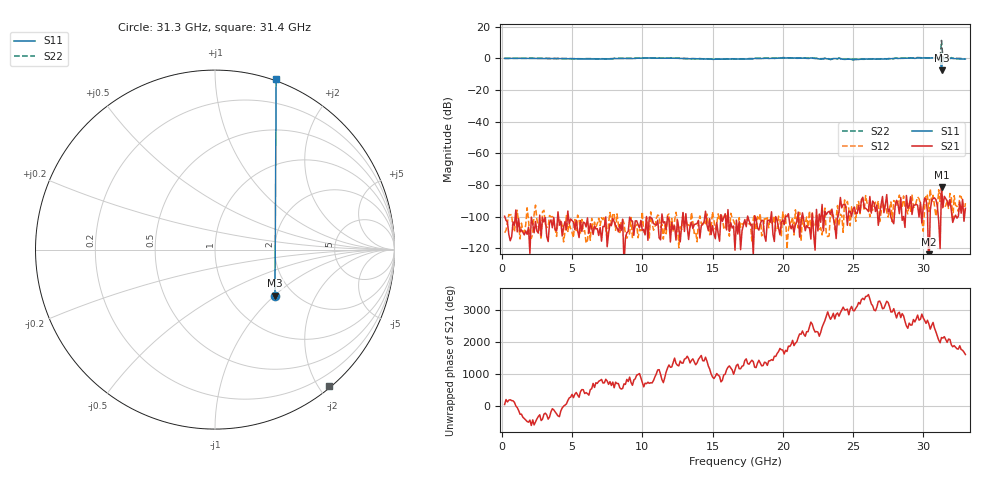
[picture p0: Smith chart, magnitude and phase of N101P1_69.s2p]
# GHZ S RI R 50
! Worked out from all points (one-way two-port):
!   329 points, 200 MHz to 33 GHz, reference 50 ohm
!   highest |S21| = -81.38 dB at 31.3 GHz (marker M1); lowest = -136.4 dB at 30.4 GHz (marker M2)
!   lowest |S11| = -7.5 dB at 31.3 GHz (marker M3), VSWR 2.46, Z = 80.8 - j50.4 ohm
!   |S11| at or under -10 dB: nowhere
!   |S22| runs from -0.6 to 11.4 dB; largest |S21 - S12| = 8.8e-05
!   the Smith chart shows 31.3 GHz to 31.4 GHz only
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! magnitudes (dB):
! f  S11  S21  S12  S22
! 200 MHz  0.0  -99.7  -110.1  0.0
! 5.7 GHz  -0.3  -109.3  -101.7  -0.2
! 11.2 GHz  0.2  -113.4  -99.5  0.2
! 15 GHz  -0.6  -105.7  -96.9  -0.3
! 16.6 GHz  -0.4  -121.2  -105.3  -0.3
! 20.4 GHz  0.4  -98.2  -108.3  0.4
! 22.1 GHz  0.2  -97.8  -97.2  0.3
! 22.7 GHz  -0.4  -103.5  -106.9  -0.2
! 23 GHz  0.0  -96.5  -94.5  0.1
! 23.4 GHz  -0.7  -98.6  -95.9  -0.6
! 24 GHz  0.2  -97.2  -105.8  0.2
! 24.2 GHz  -0.4  -94.4  -99.3  -0.2
! 24.8 GHz  -0.5  -96.6  -105.8  -0.4
! 25 GHz  -1.0  -95.1  -96.0  -0.5
! 25.6 GHz  -0.4  -89.3  -90.1  -0.5
! 27.6 GHz  -0.2  -95.2  -94.9  0.0
! 30.4 GHz  0.4  -136.4  -96.8  0.5
! 31.2 GHz  0.2  -120.2  -90.4  0.3
! 31.3 GHz  -7.5  -81.4  -79.6  11.4
! 31.4 GHz  0.1  -94.1  -94.5  -0.1
! 32 GHz  0.1  -96.2  -88.0  0.5
! 33 GHz  -0.4  -94.7  -91.5  -0.3
